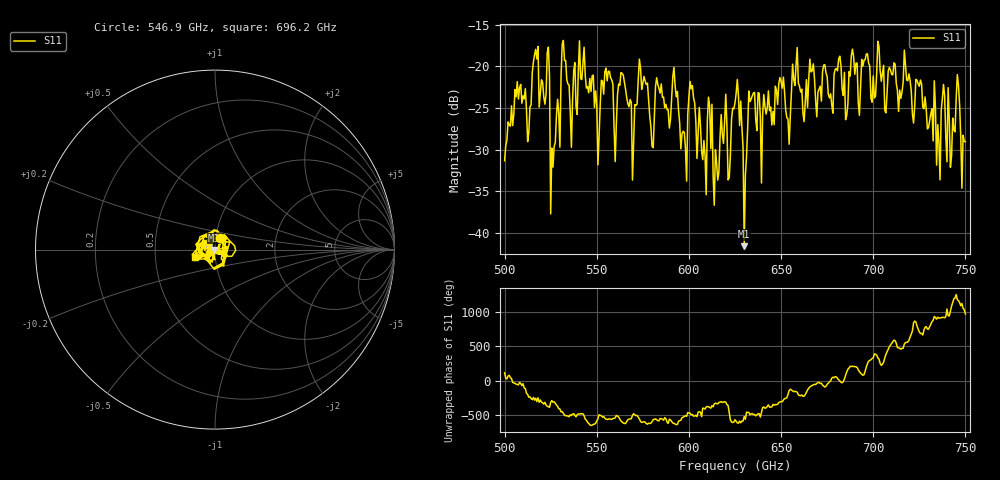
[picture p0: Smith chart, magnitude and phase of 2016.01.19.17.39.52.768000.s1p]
!Created with skrf (http://scikit-rf.org).
# GHz S RI R 50.0
!freq ReS11 ImS11
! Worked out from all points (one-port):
!   401 points, 500 GHz to 750 GHz, reference 50 ohm
!   lowest |S11| = -41.6 dB at 630 GHz (marker M1), VSWR 1.02, Z = 49.2 - j0.249 ohm
!   |S11| at or under -10 dB: start of sweep to end of sweep
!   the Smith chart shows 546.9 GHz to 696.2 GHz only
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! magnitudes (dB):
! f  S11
! 500 GHz  -31.3
! 506.9 GHz  -21.8
! 513.1 GHz  -27.9
! 516.9 GHz  -17.9
! 523.1 GHz  -18.3
! 526.2 GHz  -32.1
! 531.2 GHz  -17.4
! 535.6 GHz  -25.5
! 541.9 GHz  -21.6
! 550 GHz  -24.6
! 562.5 GHz  -22.3
! 568.8 GHz  -24.4
! 574.4 GHz  -22.7
! 580 GHz  -29.6
! 583.1 GHz  -22.2
! 593.8 GHz  -23.0
! 597.5 GHz  -27.9
! 601.9 GHz  -22.3
! 608.1 GHz  -28.9
! 611.2 GHz  -24.8
! 614.4 GHz  -30.0
! 625 GHz  -24.4
! 630 GHz  -41.6
! 633.8 GHz  -23.9
! 656.2 GHz  -19.7
! 687.5 GHz  -21.2
! 718.8 GHz  -21.7
! 750 GHz  -29.0
